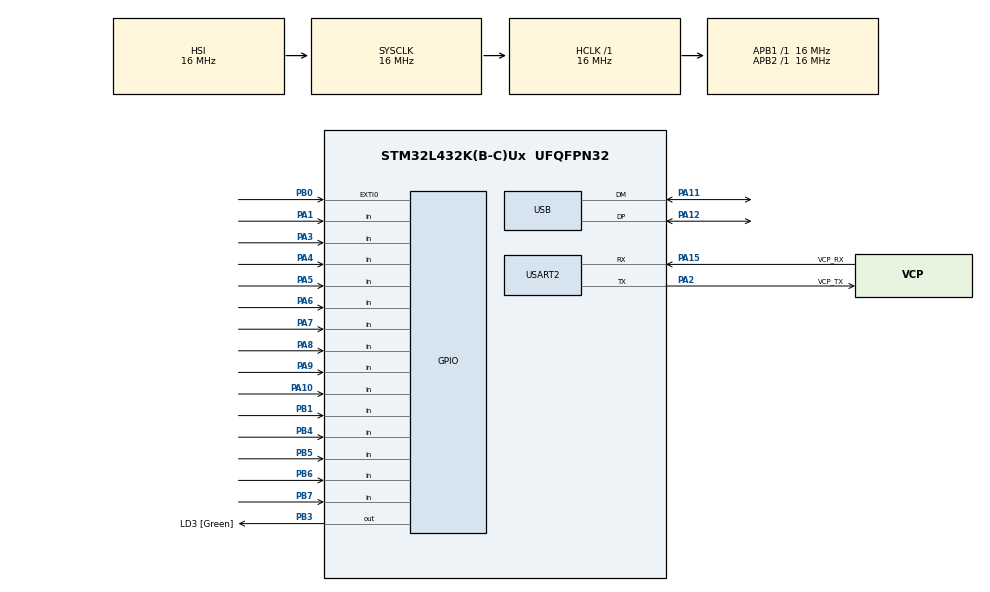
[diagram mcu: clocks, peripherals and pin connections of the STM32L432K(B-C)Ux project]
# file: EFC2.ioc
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Mcu.Family=STM32L4
Mcu.Name=STM32L432K(B-C)Ux
Mcu.Package=UFQFPN32
NVIC.PriorityGroup=NVIC_PRIORITYGROUP_4
NVIC.USB_IRQn=true\:0\:0\:false\:false\:true\:false\:true\:true
PA0.GPIO_Label=MCO [High speed clock in]
PA0.Mode=HSE-External-Clock-Source-for-LittleOrca
PA0.Signal=RCC_CK_IN
PA1.GPIO_PuPd=GPIO_PULLUP
PA1.Signal=GPIO_Input
PA10.GPIO_PuPd=GPIO_PULLUP
PA10.Signal=GPIO_Input
PA11.Mode=Device
PA11.Signal=USB_DM
PA12.Mode=Device
PA12.Signal=USB_DP
PA13\ (JTMS-SWDIO).GPIO_Label=SWDIO
PA13\ (JTMS-SWDIO).Mode=Serial_Wire
PA13\ (JTMS-SWDIO).Signal=SYS_JTMS-SWDIO
PA14\ (JTCK-SWCLK).GPIO_Label=SWCLK
PA14\ (JTCK-SWCLK).Mode=Serial_Wire
PA14\ (JTCK-SWCLK).Signal=SYS_JTCK-SWCLK
PA15\ (JTDI).GPIO_Label=VCP_RX
PA15\ (JTDI).Mode=Asynchronous
PA15\ (JTDI).Signal=USART2_RX
PA2.GPIO_Label=VCP_TX
PA2.Mode=Asynchronous
PA2.Signal=USART2_TX
PA3.GPIO_PuPd=GPIO_PULLUP
PA3.Signal=GPIO_Input
PA4.GPIO_PuPd=GPIO_PULLUP
PA4.Signal=GPIO_Input
PA5.GPIO_PuPd=GPIO_PULLUP
PA5.Signal=GPIO_Input
PA6.GPIO_PuPd=GPIO_PULLUP
PA6.Signal=GPIO_Input
PA7.GPIO_PuPd=GPIO_PULLUP
PA7.Signal=GPIO_Input
PA8.GPIO_PuPd=GPIO_PULLUP
PA8.Signal=GPIO_Input
PA9.GPIO_PuPd=GPIO_PULLUP
PA9.Signal=GPIO_Input
PB0.GPIO_PuPd=GPIO_PULLUP
PB0.Signal=GPXTI0
PB1.GPIO_PuPd=GPIO_PULLUP
PB1.Signal=GPIO_Input
PB3\ (JTDO-TRACESWO).GPIO_Label=LD3 [Green]
PB3\ (JTDO-TRACESWO).GPIO_PuPd=GPIO_PULLUP
PB3\ (JTDO-TRACESWO).Signal=GPIO_Output
PB4\ (NJTRST).GPIO_PuPd=GPIO_PULLUP
PB4\ (NJTRST).Signal=GPIO_Input
PB5.GPIO_PuPd=GPIO_PULLUP
PB5.Signal=GPIO_Input
PB6.GPIO_PuPd=GPIO_PULLUP
PB6.Signal=GPIO_Input
PB7.GPIO_PuPd=GPIO_PULLUP
PB7.Signal=GPIO_Input
PC14-OSC32_IN\ (PC14).Mode=LSE-External-Oscillator
PC14-OSC32_IN\ (PC14).Signal=RCC_OSC32_IN
PC15-OSC32_OUT\ (PC15).Mode=LSE-External-Oscillator
PC15-OSC32_OUT\ (PC15).Signal=RCC_OSC32_OUT
ProjectManager.HeapSize=0x200
ProjectManager.StackSize=0x400
ProjectManager.TargetToolchain=STM32CubeIDE
RCC.ADCFreq_Value=32000000
RCC.AHBFreq_Value=16000000
RCC.APB1Freq_Value=16000000
RCC.APB1TimFreq_Value=16000000
RCC.APB2Freq_Value=16000000
RCC.APB2TimFreq_Value=16000000
RCC.CK48CLockSelection=RCC_USBCLKSOURCE_HSI48
RCC.CortexFreq_Value=16000000
RCC.HCLKFreq_Value=16000000
RCC.HSE_VALUE=24000000
RCC.HSI16_VALUE=16000000
RCC.HSI48_VALUE=48000000
RCC.HSI_VALUE=16000000
RCC.MSI_VALUE=4000000
RCC.PLLM=3
RCC.PLLMUL=RCC_PLLMUL_4
RCC.PLLN=20
RCC.PLLSAI1N=12
RCC.PLLSourceVirtual=RCC_PLLSOURCE_HSI
RCC.SYSCLKFreq_VALUE=16000000
RCC.SYSCLKSource=RCC_SYSCLKSOURCE_HSI
RCC.USBFreq_Value=48000000
RCC.VCOOutputFreq_Value=106666666.66666666
USART2.VirtualMode-Asynchronous=VM_ASYNC
USB_DEVICE.CLASS_NAME_FS=HID
USB_DEVICE.VirtualMode=Hid
USB_DEVICE.VirtualModeFS=Hid_FS
VP_USB_DEVICE_VS_USB_DEVICE_HID_FS.Mode=HID_FS
board=NUCLEO-L432KC

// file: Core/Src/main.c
/* USER CODE BEGIN Header */
/**
  ******************************************************************************
  * @file           : main.c
  * @brief          : Main program body
  ******************************************************************************
  * @attention
  *
  * Copyright (c) 2023 STMicroelectronics.
  * All rights reserved.
  *
  * This software is licensed under terms that can be found in the LICENSE file
  * in the root directory of this software component.
  * If no LICENSE file comes with this software, it is provided AS-IS.
  *
  ******************************************************************************
  */
/* USER CODE END Header */
#include "main.h"
#include "usb_device.h"

/* USER CODE BEGIN Includes */
#include "usbd_hid.h"
#include "usbd_conf.h"
#include "usbd_desc.h"
#include "stm32l4xx_hal.h"
#include "usbd_core.h"
//#include "usbd_desc.h"
//#include "usbd_hid.h"
//#include "stm32l4xx_nucleo_32.h"
/* USER CODE END Includes */

UART_HandleTypeDef huart2;

/* USER CODE BEGIN PV */
typedef struct
{
	uint8_t MODIFIER;
	uint8_t RESERVED;
	uint8_t KEYCODE1;
	uint8_t KEYCODE2;
	uint8_t KEYCODE3;
	uint8_t KEYCODE4;
	uint8_t KEYCODE5;
	uint8_t KEYCODE6;
} keyboardHID;

keyboardHID keyboardhid = {0,0,0,0,0,0,0,0};
uint8_t kbd1[8] = {0x00, 0x00, 0x00, 0x00, 0x00, 0x00, 0x00, 0x00};
uint8_t kbdclear[8] = {0,0,0,0,0,0,0,0};
USBD_HandleTypeDef USBD_Device;
__IO uint32_t detect = 0;
extern PCD_HandleTypeDef hpcd;

/* USER CODE END PV */

void SystemClock_Config(void);
static void MX_GPIO_Init(void);
static void MX_USART2_UART_Init(void);

int main(void)
{

  /* MCU Configuration--------------------------------------------------------*/

  /* Reset of all peripherals, Initializes the Flash interface and the Systick. */
  HAL_Init();

  /* Configure the system clock */
  SystemClock_Config();

  /* Initialize all configured peripherals */
  MX_GPIO_Init();
  MX_USART2_UART_Init();
  MX_USB_DEVICE_Init();
  /* USER CODE BEGIN 2 */

  /* Init Device Library */
  USBD_Init(&USBD_Device, &FS_Desc, 0);

  /* Register the HID class */
  USBD_RegisterClass(&USBD_Device, &USBD_HID);

  /* Start Device Process */
  USBD_Start(&USBD_Device);

  //uint8_t ctrl_button = 0;
  //uint8_t shift_button = 0;
  //uint8_t alt_button = 0;
  //uint8_t super_button = 0;
  //uint8_t space_button = 0;

  uint8_t ctrl_state = 0;
  uint8_t shift_state = 0;
  uint8_t alt_state = 0;
  uint8_t super_state = 0;

  uint8_t ctrl_state_prev = 0;
  uint8_t shift_state_prev = 0;
  uint8_t alt_state_prev = 0;
  uint8_t super_state_prev = 0;

  uint32_t ctrl_last_pressed = 0;
  uint32_t shift_last_pressed = 0;
  uint32_t alt_last_pressed = 0;
  uint32_t super_last_pressed = 0;
  uint32_t latching_last_pressed = 0;
  //uint8_t space_state = 0;

  uint8_t kbd_buffer[8] = {0x00, 0x00, 0x00, 0x00, 0x00, 0x00, 0x00, 0x00};
  uint32_t last_USB_send = 0;
  uint8_t latching_state = 1;

  /* USER CODE END 2 */

  /* Infinite loop */
  /* USER CODE BEGIN WHILE */
  while (1)
  	  {
	  ctrl_state_prev = ctrl_state;
	  shift_state_prev = shift_state;
	  alt_state_prev = alt_state;
	  super_state_prev = super_state;
	  kbd_buffer[2] = 0x0;

	  //--------------
	  //Latching Button
	  //--------------

	  //A6

	  if ((HAL_GPIO_ReadPin(GPIOA, GPIO_PIN_7) == 0) && (HAL_GetTick() - latching_last_pressed > 150))
	  {

		  latching_state = !latching_state;
		  latching_last_pressed = HAL_GetTick();
		  ctrl_state = 0;
		  shift_state = 0;
		  alt_state = 0;
		  super_state = 0;

	  }

	  //--------------
	  //Control Button
	  //--------------

	  //D4

	  if ((HAL_GPIO_ReadPin(GPIOB, GPIO_PIN_7) == 0) && (HAL_GetTick() - ctrl_last_pressed > 150))
	  {

		  ctrl_state = !ctrl_state;
		  ctrl_last_pressed = HAL_GetTick();
		  if (latching_state == 0)
		  {
			  kbd_buffer[0] = 0x01;
			  USBD_HID_SendReport(&USBD_Device, kbd_buffer, 8);
			  HAL_Delay(50); //debounce
			  while (HAL_GPIO_ReadPin(GPIOB, GPIO_PIN_7) == 0); //wait for button to be released
			  kbd_buffer[0] = 0x00;
			  USBD_HID_SendReport(&USBD_Device, kbd_buffer, 8);
			  HAL_Delay(50); //debounce

			  ctrl_state = !ctrl_state; //undo
		  }

	  }

	  //--------------
	  //Shift Button
	  //--------------

	  //D9

	  if ((HAL_GPIO_ReadPin(GPIOA, GPIO_PIN_8) == 0) && (HAL_GetTick() - shift_last_pressed > 150))
	  {

		  shift_state = !shift_state;
		  shift_last_pressed = HAL_GetTick();
		  if (latching_state == 0)
		  {
			  kbd_buffer[0] = 0x02;
			  USBD_HID_SendReport(&USBD_Device, kbd_buffer, 8);
			  HAL_Delay(50); //debounce
			  while (HAL_GPIO_ReadPin(GPIOA, GPIO_PIN_8) == 0); //wait for button to be released
			  kbd_buffer[0] = 0x00;
			  USBD_HID_SendReport(&USBD_Device, kbd_buffer, 8);
			  HAL_Delay(50); //debounce

			  shift_state = !shift_state; //undo
		  }

	  }

	  //--------------
	  //Alt Button
	  //--------------

	  //D6

	  if ((HAL_GPIO_ReadPin(GPIOB, GPIO_PIN_1) == 0) && (HAL_GetTick() - alt_last_pressed > 150))
	  {

		  alt_state = !alt_state;
		  alt_last_pressed = HAL_GetTick();
		  if (latching_state == 0)
		  {
			  kbd_buffer[0] = 0x04;
			  USBD_HID_SendReport(&USBD_Device, kbd_buffer, 8);
			  HAL_Delay(50); //debounce
			  while (HAL_GPIO_ReadPin(GPIOB, GPIO_PIN_1) == 0); //wait for button to be released
			  kbd_buffer[0] = 0x00;
			  USBD_HID_SendReport(&USBD_Device, kbd_buffer, 8);
			  HAL_Delay(50); //debounce

			  alt_state = !alt_state; //undo
		  }

	  }

	  //--------------
	  //Super Button
	  //--------------

	  //A1

	  if ((HAL_GPIO_ReadPin(GPIOA, GPIO_PIN_1) == 0) && (HAL_GetTick() - super_last_pressed > 150))
	  {

		  super_state = !super_state;
		  super_last_pressed = HAL_GetTick();
		  if (latching_state == 0)
		  {
			  kbd_buffer[0] = 0x08;
			  USBD_HID_SendReport(&USBD_Device, kbd_buffer, 8);
			  HAL_Delay(50); //debounce
			  while (HAL_GPIO_ReadPin(GPIOA, GPIO_PIN_1) == 0); //wait for button to be released
			  kbd_buffer[0] = 0x00;
			  USBD_HID_SendReport(&USBD_Device, kbd_buffer, 8);
			  HAL_Delay(50); //debounce

			  super_state = !super_state; //undo
		  }

	  }

	  //--------------
	  //Space Button
	  //--------------

	  //A5

	  if (HAL_GPIO_ReadPin(GPIOA, GPIO_PIN_6) == 0)
	  {
		  kbd_buffer[2] = 0x2c;
		  USBD_HID_SendReport(&USBD_Device, kbd_buffer, 8);
		  HAL_Delay(50); //debounce
		  while (HAL_GPIO_ReadPin(GPIOA, GPIO_PIN_6) == 0); //wait for button to be released
		  kbd_buffer[2] = 0x00;
		  USBD_HID_SendReport(&USBD_Device, kbd_buffer, 8);
		  HAL_Delay(50); //debounce

	  }

	  if ((ctrl_state != ctrl_state_prev) || (shift_state != shift_state_prev) || (alt_state != alt_state_prev) || (super_state != super_state_prev))
	  {
			kbd_buffer[0] = ctrl_state + shift_state*2 + alt_state*4 + super_state*8;

			if((HAL_GetTick() - last_USB_send) > 10)
			{
				USBD_HID_SendReport(&USBD_Device, kbd_buffer, 8);
				last_USB_send = HAL_GetTick();
				//if(latching_state == 0)
				//{
				//	HAL_Delay(50);
				//	kbd_buffer[0] = 0x00;
				//  USBD_HID_SendReport(&USBD_Device, kbd_buffer, 8);
				//  HAL_Delay(50);
				//}
			}
	  }
		  //send(ctrl_state, shift_state, alt_state, super_state, ctrl_state_prev, shift_state_prev, alt_state_prev, super_state_prev);
	} //end of while

    /* USER CODE END WHILE */

}

void SystemClock_Config(void)
{
  RCC_OscInitTypeDef RCC_OscInitStruct = {0};
  RCC_ClkInitTypeDef RCC_ClkInitStruct = {0};

  /** Configure the main internal regulator output voltage
  */
  if (HAL_PWREx_ControlVoltageScaling(PWR_REGULATOR_VOLTAGE_SCALE1) != HAL_OK)
  {
    Error_Handler();
  }

  /** Initializes the RCC Oscillators according to the specified parameters
  * in the RCC_OscInitTypeDef structure.
  */
  RCC_OscInitStruct.OscillatorType = RCC_OSCILLATORTYPE_HSI48|RCC_OSCILLATORTYPE_HSI;
  RCC_OscInitStruct.HSIState = RCC_HSI_ON;
  RCC_OscInitStruct.HSI48State = RCC_HSI48_ON;
  RCC_OscInitStruct.HSICalibrationValue = RCC_HSICALIBRATION_DEFAULT;
  RCC_OscInitStruct.PLL.PLLState = RCC_PLL_NONE;
  if (HAL_RCC_OscConfig(&RCC_OscInitStruct) != HAL_OK)
  {
    Error_Handler();
  }

  /** Initializes the CPU, AHB and APB buses clocks
  */
  RCC_ClkInitStruct.ClockType = RCC_CLOCKTYPE_HCLK|RCC_CLOCKTYPE_SYSCLK
                              |RCC_CLOCKTYPE_PCLK1|RCC_CLOCKTYPE_PCLK2;
  RCC_ClkInitStruct.SYSCLKSource = RCC_SYSCLKSOURCE_HSI;
  RCC_ClkInitStruct.AHBCLKDivider = RCC_SYSCLK_DIV1;
  RCC_ClkInitStruct.APB1CLKDivider = RCC_HCLK_DIV1;
  RCC_ClkInitStruct.APB2CLKDivider = RCC_HCLK_DIV1;

  if (HAL_RCC_ClockConfig(&RCC_ClkInitStruct, FLASH_LATENCY_0) != HAL_OK)
  {
    Error_Handler();
  }
}

static void MX_USART2_UART_Init(void)
{

  huart2.Instance = USART2;
  huart2.Init.BaudRate = 115200;
  huart2.Init.WordLength = UART_WORDLENGTH_8B;
  huart2.Init.StopBits = UART_STOPBITS_1;
  huart2.Init.Parity = UART_PARITY_NONE;
  huart2.Init.Mode = UART_MODE_TX_RX;
  huart2.Init.HwFlowCtl = UART_HWCONTROL_NONE;
  huart2.Init.OverSampling = UART_OVERSAMPLING_16;
  huart2.Init.OneBitSampling = UART_ONE_BIT_SAMPLE_DISABLE;
  huart2.AdvancedInit.AdvFeatureInit = UART_ADVFEATURE_NO_INIT;
  if (HAL_UART_Init(&huart2) != HAL_OK)
  {
    Error_Handler();
  }

}

static void MX_GPIO_Init(void)
{
  GPIO_InitTypeDef GPIO_InitStruct = {0};

  /* GPIO Ports Clock Enable */
  __HAL_RCC_GPIOC_CLK_ENABLE();
  __HAL_RCC_GPIOA_CLK_ENABLE();
  __HAL_RCC_GPIOB_CLK_ENABLE();

  /*Configure GPIO pin Output Level */
  HAL_GPIO_WritePin(LD3_GPIO_Port, LD3_Pin, GPIO_PIN_RESET);

  /*Configure GPIO pins : PA1 PA3 PA4 PA5
                           PA6 PA7 PA8 PA9
                           PA10 */
  GPIO_InitStruct.Pin = GPIO_PIN_1|GPIO_PIN_3|GPIO_PIN_4|GPIO_PIN_5
                          |GPIO_PIN_6|GPIO_PIN_7|GPIO_PIN_8|GPIO_PIN_9
                          |GPIO_PIN_10;
  GPIO_InitStruct.Mode = GPIO_MODE_INPUT;
  GPIO_InitStruct.Pull = GPIO_PULLUP;
  HAL_GPIO_Init(GPIOA, &GPIO_InitStruct);

  /*Configure GPIO pin : PB0 */
  GPIO_InitStruct.Pin = GPIO_PIN_0;
  GPIO_InitStruct.Mode = GPIO_MODE_IT_RISING;
  GPIO_InitStruct.Pull = GPIO_PULLUP;
  HAL_GPIO_Init(GPIOB, &GPIO_InitStruct);

  /*Configure GPIO pins : PB1 PB4 PB5 PB6
                           PB7 */
  GPIO_InitStruct.Pin = GPIO_PIN_1|GPIO_PIN_4|GPIO_PIN_5|GPIO_PIN_6
                          |GPIO_PIN_7;
  GPIO_InitStruct.Mode = GPIO_MODE_INPUT;
  GPIO_InitStruct.Pull = GPIO_PULLUP;
  HAL_GPIO_Init(GPIOB, &GPIO_InitStruct);

  /*Configure GPIO pin : LD3_Pin */
  GPIO_InitStruct.Pin = LD3_Pin;
  GPIO_InitStruct.Mode = GPIO_MODE_OUTPUT_PP;
  GPIO_InitStruct.Pull = GPIO_PULLUP;
  GPIO_InitStruct.Speed = GPIO_SPEED_FREQ_LOW;
  HAL_GPIO_Init(LD3_GPIO_Port, &GPIO_InitStruct);

}

void Error_Handler(void)
{
  __disable_irq();
  while (1)
  {
  }
}
